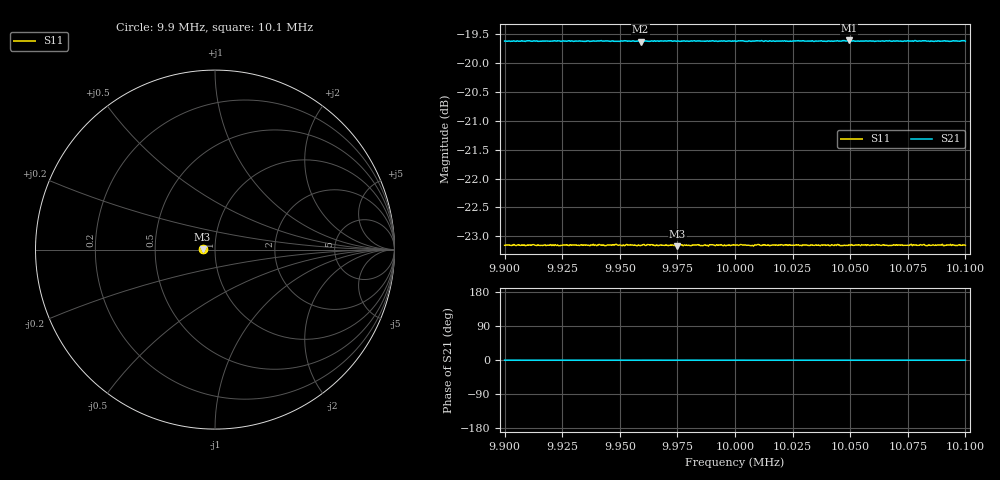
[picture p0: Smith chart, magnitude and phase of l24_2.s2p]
! NanoVNA-App
! Date: 2026-10-13 22:11:11
! Start: 9,9MHz Stop: 10,1MHz Points: 401
! S-Parameter data: F S11 S21 S12 S22
# Hz S RI R 50
!  Frequency  S11_Real  S11_Imag  S21_Real  S21_Imag  S12_Real  S12_Imag  S22_Real  S22_Imag
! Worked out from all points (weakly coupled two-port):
!   401 points, 9.9 MHz to 10.1 MHz, reference 50 ohm
!   highest |S21| = -19.61 dB at 10.05 MHz (marker M1); lowest = -19.6 dB at 9.959 MHz (marker M2)
!   lowest |S11| = -23.2 dB at 9.975 MHz (marker M3), VSWR 1.15, Z = 43.5 + j0.339 ohm
!   |S11| at or under -10 dB: start of sweep to end of sweep
!   S12 and S22 are empty: the file has one direction only
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9900000  -0.0694 0.00396  0.1045 -0.000951  0 0  0 0
9933500  -0.0695 0.00387  0.1045 -0.001  0 0  0 0
9943000  -0.0694 0.00395  0.1045 -0.00103  0 0  0 0
9948000  -0.0695 0.00394  0.1045 -0.000928  0 0  0 0
9951500  -0.0695 0.00397  0.1045 -0.000947  0 0  0 0
9959000  -0.0694 0.00385  0.1044 -0.000982  0 0  0 0
9963000  -0.0695 0.00389  0.1044 -0.000888  0 0  0 0
9967000  -0.0694 0.00393  0.1044 -0.000954  0 0  0 0
9975000  -0.0693 0.00388  0.1045 -0.000939  0 0  0 0
9977000  -0.0695 0.00395  0.1045 -0.000927  0 0  0 0
1e7  -0.0694 0.00389  0.1046 -0.001  0 0  0 0
1.00035e7  -0.0695 0.00394  0.1046 -0.000946  0 0  0 0
1.0007e7  -0.0694 0.00391  0.1044 -0.000912  0 0  0 0
1.00095e7  -0.0695 0.00389  0.1045 -0.00104  0 0  0 0
1.00335e7  -0.0694 0.00387  0.1046 -0.00102  0 0  0 0
1.00495e7  -0.0695 0.00386  0.1046 -0.000982  0 0  0 0
1.0067e7  -0.0694 0.00383  0.1046 -0.000923  0 0  0 0
1.00815e7  -0.0695 0.00392  0.1046 -0.000969  0 0  0 0
1.0084e7  -0.0695 0.00383  0.1045 -0.000952  0 0  0 0
1.0089e7  -0.0695 0.00386  0.1044 -0.00102  0 0  0 0
1.00915e7  -0.0694 0.00392  0.1045 -0.000919  0 0  0 0
1.01e7  -0.0694 0.0039  0.1045 -0.000929  0 0  0 0
